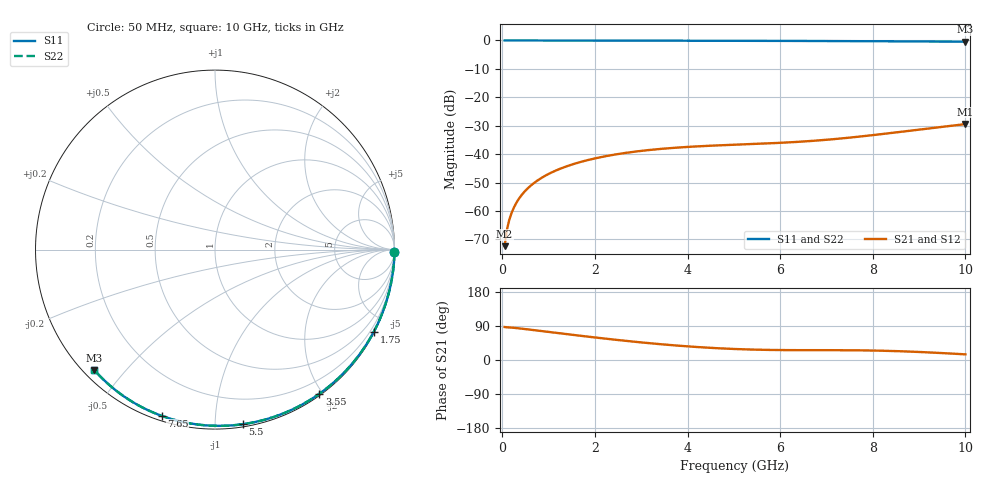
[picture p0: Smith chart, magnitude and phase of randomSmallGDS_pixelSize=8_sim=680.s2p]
! freq	dB(S11)	phase(S11)	dB(S12)	phase(S12)
!  dB(S21)	phase(S21)	dB(S22)	phase(S22)
!S-par simulation data
#  GHz  S  DB  R 50
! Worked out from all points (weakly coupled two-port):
!   200 points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, 50 MHz to 10 GHz, reference 50 ohm
!   highest |S21| = -29.42 dB at 10 GHz (marker M1); lowest = -72.4 dB at 50 MHz (marker M2)
!   lowest |S11| = -0.4 dB at 10 GHz (marker M3), VSWR 38.81, Z = 1.51 - j20.7 ohm
!   |S11| at or under -10 dB: nowhere
!   |S22| runs from -0.4 to 0.0 dB; largest |S21 - S12| = 0
!   S11 on the Smith chart (normalised r, x): 50 MHz: open; 1.75 GHz: 0.04, -4.11; 3.55 GHz: 0.02, -1.96; 5.5 GHz: 0.02, -1.17; 7.65 GHz: 0.02, -0.73; 10 GHz: 0.03, -0.41
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0.05  -0.00 -0.8  -72.35 87.0  -72.35 87.0  -0.00 -0.8
0.1  -0.00 -1.6  -66.56 86.3  -66.56 86.3  -0.00 -1.6
0.15  -0.00 -2.4  -63.14 86.0  -63.14 86.0  -0.00 -2.4
0.2  -0.00 -3.2  -60.68 85.5  -60.68 85.5  -0.00 -3.2
0.25  -0.00 -4.0  -58.77 84.9  -58.77 84.9  -0.00 -4.0
0.35  -0.00 -5.6  -55.88 83.7  -55.88 83.7  -0.00 -5.6
0.5  -0.01 -7.9  -52.82 81.6  -52.82 81.6  -0.01 -7.9
0.7  -0.01 -11.1  -49.95 78.6  -49.95 78.6  -0.01 -11.1
1  -0.02 -15.8  -46.95 74.1  -46.95 74.1  -0.02 -15.8
1.35  -0.03 -21.2  -44.50 68.9  -44.50 68.9  -0.03 -21.2
1.75  -0.03 -27.4  -42.47 63.0  -42.47 63.0  -0.03 -27.4
2.5  -0.05 -38.7  -39.94 52.7  -39.94 52.7  -0.05 -38.8
3.4  -0.07 -52.0  -38.17 41.9  -38.17 41.9  -0.07 -52.0
3.55  -0.07 -54.1  -37.96 40.3  -37.96 40.3  -0.07 -54.2
4.3  -0.09 -64.7  -37.17 33.5  -37.17 33.5  -0.09 -64.8
5.05  -0.11 -75.0  -36.65 28.9  -36.65 28.9  -0.11 -75.0
5.5  -0.13 -80.9  -36.36 27.2  -36.36 27.2  -0.13 -81.0
6.7  -0.18 -96.2  -35.32 25.9  -35.32 25.9  -0.18 -96.3
7.65  -0.24 -107.8  -33.93 25.6  -33.93 25.6  -0.24 -107.9
8.35  -0.29 -116.1  -32.64 24.0  -32.64 24.0  -0.29 -116.2
9.2  -0.37 -125.9  -30.97 20.1  -30.97 20.1  -0.37 -126.0
10  -0.45 -135.1  -29.42 14.9  -29.42 14.9  -0.45 -135.2
